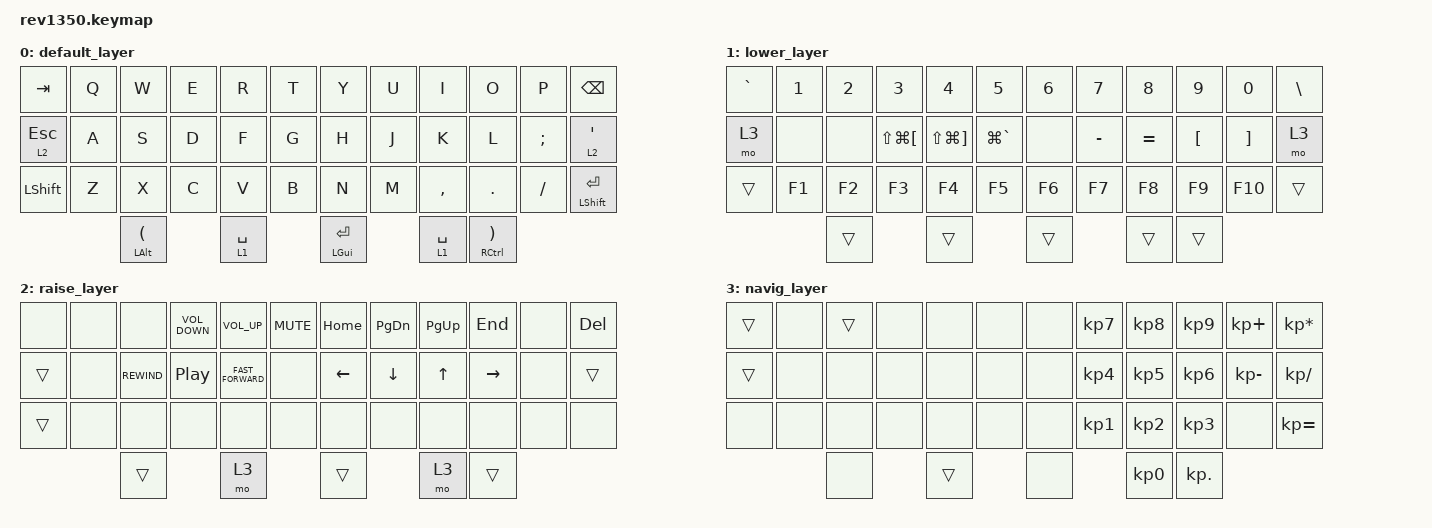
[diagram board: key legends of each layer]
/*
 * Copyright (c) 2020 The ZMK Contributors
 *
 * SPDX-License-Identifier: MIT
 */

#include <behaviors.dtsi>
#include <dt-bindings/zmk/backlight.h>
#include <dt-bindings/zmk/bt.h>
#include <dt-bindings/zmk/keys.h>

#define DEFAULT 0
#define LOWER   1
#define RAISE   2
#define NAVIG   3
// #define FUNCT   4
// #define ADJST   5

/ {
    behaviors {
        hm: homerow_mods {
            compatible = "zmk,behavior-hold-tap";
            label = "HOMEROW_MODS";
            #binding-cells = <2>;
            tapping-term-ms = <150>;
            quick_tap_ms = <0>;
            flavor = "tap-preferred";
            bindings = <&kp>, <&kp>;
        };
    };

    keymap {
        compatible = "zmk,keymap";

        default_layer {
// --------------------------------------------------------------------------------------
// |  TAB |  Q   |  W   |  E   |  R   |  T  |   |  Y  |  U   |  I   |  O   |  P  | BKSP |
// | CTRL |  A   |  S   |  D   |  F   |  G  |   |  H  |  J   |  K   |  L   |  ;  |   '  |
// | SHFT |CTL(Z)|ALT(X)|SFT(C)|CTL(V)|  B  |   |  N  |CTL(M)|SFT(,)|ALT(.)|  /  |RETURN|
//                         | LGUI | LWR |  SPACE  | RSE | FUNC |
            bindings = <
  //  &kp TAB   &kp Q       &kp W      &kp E       &kp R       &kp T   &kp Y &kp U        &kp I           &kp O        &kp P    &kp BSPC
  //  &kp ESC   &kp A       &kp S      &kp D       &kp F       &kp G   &kp H &kp J        &kp K           &kp L        &kp SEMI &kp SQT
  //  &kp LSHFT &hm LCTRL Z &hm LALT X &hm LSHFT C &hm LCTRL V &kp B   &kp N &hm RCTRL M  &hm RSHFT COMMA &hm RALT DOT &kp FSLH &kp RET
  //                       &kp LGUI  &mo LOWER &lt NAVIG SPACE &mo RAISE  &mo FUNCT
          &kp TAB     &kp Q   &kp W   &kp E   &kp R   &kp T   &kp Y   &kp U   &kp I     &kp O     &kp P       &kp BSPC
          &lt 2 ESC   &kp A   &kp S   &kp D   &kp F   &kp G   &kp H   &kp J   &kp K     &kp L     &kp SEMI    &lt 2 SQT
          &kp LSHFT   &kp Z   &kp X   &kp C   &kp V   &kp B   &kp N   &kp M   &kp COMMA &kp DOT   &kp SLASH   &mt LSHFT ENTER
                              &mt LALT LPAR   &lt 1 SPACE     &mt LGUI ENTER  &lt 1 SPACE   &mt RCTRL RPAR
            >;
        };

        lower_layer {
// -----------------------------------------------------------------------------
// | DEL |  !  |  @  |  #  |  $  |  %  |   |  ^  |  &  |  *  |  (  |  )  | DEL |
// |     |     |     |     |     |     |   |  ~  |  _  |  +  |  {  |  }  | "|" |
// |     |     | GUI |     |     | CAPS|   | PRSC|     |     |     |     |     |
//                       |     |     | RET | ADJ |     |
            bindings = <
  //  &kp DEL &kp EXCL &kp AT   &kp HASH &kp DLLR &kp PRCNT      &kp CARET &kp AMPS  &kp ASTRK   &kp LPAR  &kp RPAR  &kp DEL
  //  &trans  &trans   &trans   &trans   &trans   &trans         &kp TILDE &kp UNDER &kp KP_PLUS &kp LBRC  &kp RBRC  &kp PIPE
  //  &trans  &trans   &kp LGUI &trans   &trans   &kp CLCK       &kp PSCRN &trans    &trans      &trans    &trans    &trans
  //                                  &trans    &trans    &kp RET    &mo ADJST    &trans
          &kp GRAVE   &kp N1  &kp N2  &kp N3  &kp N4    &kp N5  &kp N6  &kp N7  &kp N8 &kp N9 &kp N0 &kp BACKSLASH
          &mo 3       &none   &none   &kp LS(LG(LBKT))  &kp LS(LG(RBKT)) &kp LG(GRAVE) &none &kp MINUS &kp EQUAL &kp LBKT &kp RBKT &mo 3
          &trans      &kp F1  &kp F2  &kp F3  &kp F4    &kp F5  &kp F6  &kp F7  &kp F8 &kp F9 &kp F10 &trans
          &trans &trans &trans &trans &trans
            >;
        };

        raise_layer {
// -----------------------------------------------------------------------------
// | DEL |  1  |  2  |  3  |  4  |  5  |   |  6  |  7  |  8  |  9  |  0  | DEL |
// |     |     |     |     |     |     |   |  `  |  -  |  =  |  [  |  ]  |  \  |
// |     |     | GUI |     |     | CAPS|   | PRSC|     |     |     |     |     |
//                       |     | ADJ | BKSP |    |     |
            bindings = <
  //  &kp DEL &kp N1   &kp N2   &kp N3   &kp N4   &kp N5         &kp N6    &kp N7    &kp N8    &kp N9    &kp N0    &kp DEL
  //  &trans  &trans   &trans   &trans   &trans   &trans         &kp GRAVE &kp MINUS &kp EQUAL &kp LBKT  &kp RBKT  &kp BSLH
  //  &trans  &trans   &kp LGUI &trans   &trans   &kp CLCK       &kp PSCRN &trans    &trans    &trans    &trans    &trans
  //                                  &trans  &mo ADJST &kp BSPC &trans  &trans
          &none &none &none &kp C_VOLUME_DOWN &kp C_VOLUME_UP &kp C_MUTE &kp HOME &kp PAGE_DOWN &kp PAGE_UP &kp END &none &kp DELETE
          &trans &none &kp C_REWIND &kp C_PLAY_PAUSE &kp C_FAST_FORWARD &none &kp LEFT &kp DOWN &kp UP &kp RIGHT &none &trans
          &trans &none &none &none &none &none &none &none &none &none &none &none
          &trans &mo 3 &trans &mo 3 &trans

            >;
        };

        navig_layer {
// -----------------------------------------------------------------------------
// | DEL |     |     |     |     |     |   |     |     |     |     |     | DEL |
// |     |     |     |     |     |     |   |     |LEFT |DOWN | UP  |RIGHT|     |
// |     |     |     |     |     |CAPS |   |     |HOME |PG-DN|PG-UP| END |     |
//                        |     |     |     |     |     |
            bindings = <
  //  &kp DEL &trans  &trans   &trans   &trans   &trans      &trans  &trans   &trans    &trans    &trans    &kp DEL
  //  &trans  &trans  &trans   &trans   &trans   &trans      &trans  &kp LEFT &kp DOWN  &kp UP    &kp RIGHT &trans
  //  &trans  &trans  &trans   &trans   &trans   &kp CLCK    &trans  &kp HOME &kp PG_DN &kp PG_UP &kp END   &trans
  //                                  &trans   &trans   &trans   &trans   &trans
            &trans &none &trans &none &none &none &none &kp KP_N7 &kp KP_N8 &kp KP_N9 &kp KP_PLUS &kp KP_ASTERISK
          &trans &none &none &none &none &none &none &kp KP_N4 &kp KP_N5 &kp KP_N6 &kp KP_MINUS &kp KP_SLASH
          &none &none &none &none &none &none &none &kp KP_N1 &kp KP_N2 &kp KP_N3 &none &kp KP_EQUAL
          &none &trans &none &kp KP_N0 &kp KP_DOT
            >;
        };
    };
};
